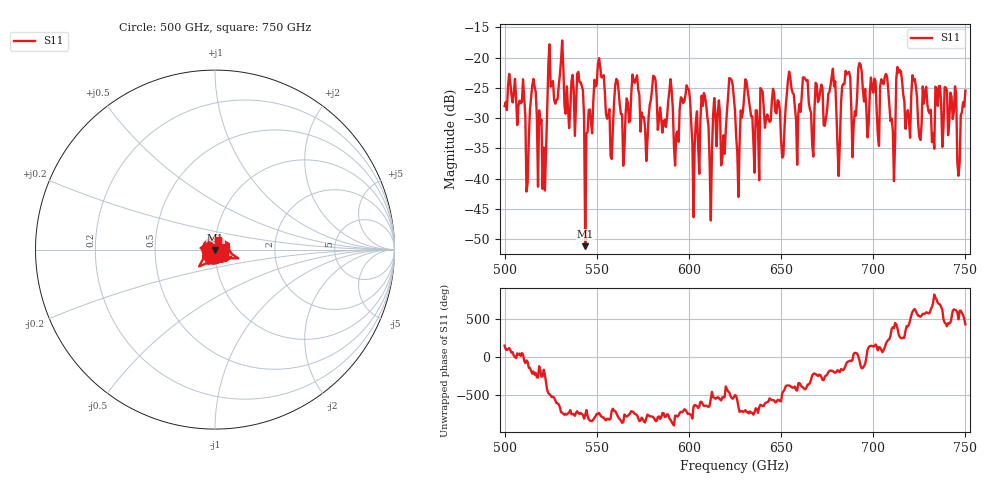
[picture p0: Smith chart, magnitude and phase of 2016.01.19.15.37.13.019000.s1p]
!Created with skrf (http://scikit-rf.org).
# GHz S RI R 50.0
!freq ReS11 ImS11
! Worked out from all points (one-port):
!   401 points, 500 GHz to 750 GHz, reference 50 ohm
!   lowest |S11| = -51.2 dB at 543.8 GHz (marker M1), VSWR 1.01, Z = 50.2 - j0.219 ohm
!   |S11| at or under -10 dB: start of sweep to end of sweep
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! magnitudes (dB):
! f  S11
! 500 GHz  -28.0
! 509.4 GHz  -27.4
! 512.5 GHz  -40.7
! 515.6 GHz  -23.5
! 521.2 GHz  -34.9
! 524.4 GHz  -17.8
! 531.2 GHz  -17.2
! 541.2 GHz  -24.1
! 543.8 GHz  -51.2
! 551.2 GHz  -20.1
! 557.5 GHz  -36.3
! 562.5 GHz  -27.9
! 593.8 GHz  -32.2
! 598.8 GHz  -24.6
! 602.5 GHz  -46.4
! 608.1 GHz  -25.9
! 611.2 GHz  -37.4
! 625 GHz  -28.7
! 650.6 GHz  -36.5
! 656.2 GHz  -25.8
! 687.5 GHz  -23.2
! 706.2 GHz  -23.2
! 710.6 GHz  -32.1
! 714.4 GHz  -22.0
! 718.8 GHz  -28.7
! 735 GHz  -28.0
! 746.9 GHz  -37.5
! 750 GHz  -25.4
